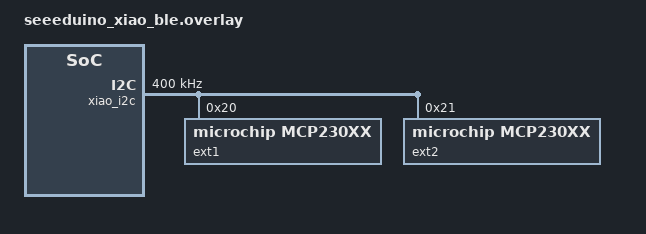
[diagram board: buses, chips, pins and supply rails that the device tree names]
&xiao_i2c {
    status = "okay";
    clock-frequency = <I2C_BITRATE_FAST>;

    ext1: mcp23017@20 {
        compatible = "microchip,mcp230xx";
        status = "okay";
        gpio-controller;
        reg = <0x20>;
        #gpio-cells = <2>;
        ngpios = <16>;
    };

    ext2: mcp23017@21 {
        compatible = "microchip,mcp230xx";
        status = "okay";
        gpio-controller;
        reg = <0x21>;
        #gpio-cells = <2>;
        ngpios = <16>;
    };
};
